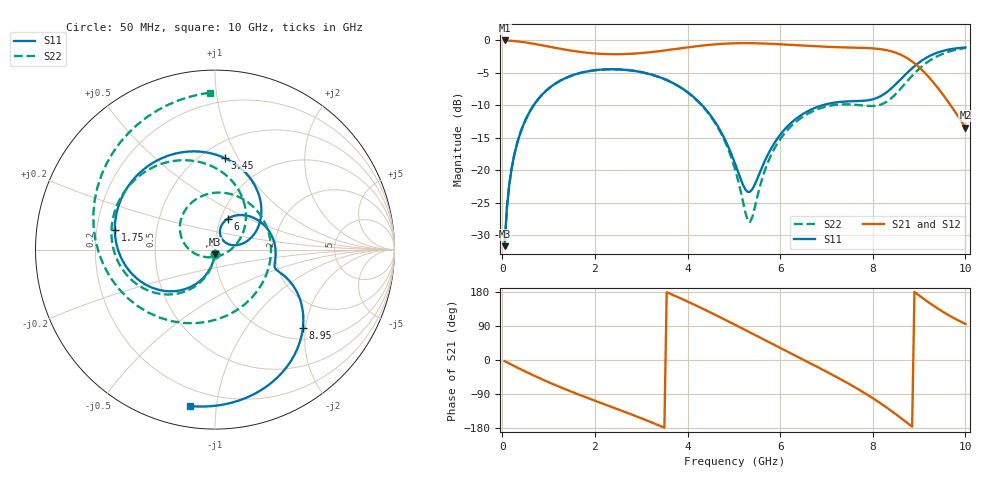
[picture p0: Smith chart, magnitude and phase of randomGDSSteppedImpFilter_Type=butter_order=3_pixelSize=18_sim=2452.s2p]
! freq	dB(S11)	phase(S11)	dB(S12)	phase(S12)
!  dB(S21)	phase(S21)	dB(S22)	phase(S22)
!S-par simulation data
#  GHz  S  DB  R 50
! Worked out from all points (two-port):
!   200 points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, 50 MHz to 10 GHz, reference 50 ohm
!   highest |S21| = -0.01 dB at 50 MHz (marker M1); lowest = -13.4 dB at 10 GHz (marker M2)
!   |S21| within 3 dB of the highest: start of sweep to 8.802 GHz
!   lowest |S11| = -31.7 dB at 50 MHz (marker M3), VSWR 1.05, Z = 49.8 - j2.59 ohm
!   |S11| at or under -10 dB: start of sweep to 677.4 MHz; 4.315 GHz to 6.909 GHz (2.594 GHz wide, 46.2 % of centre)
!   |S22| runs from -31.7 to -1.2 dB; largest |S21 - S12| = 0
!   S11 on the Smith chart (normalised r, x): 50 MHz: 1.00, -0.05; 1.75 GHz: 0.28, +0.09; 3.45 GHz: 0.64, +0.89; 6 GHz: 1.08, +0.39; 8.95 GHz: 1.27, -1.94; 10 GHz: 0.11, -0.85
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0.05  -31.70 -93.2  -0.01 -3.2  -0.01 -3.2  -31.69 -93.0
0.1  -25.71 -96.8  -0.02 -6.3  -0.02 -6.3  -25.71 -96.3
0.2  -19.80 -103.5  -0.07 -12.5  -0.07 -12.5  -19.80 -102.4
0.5  -12.28 -122.4  -0.31 -30.6  -0.31 -30.6  -12.27 -119.8
1.05  -7.14 -154.6  -1.02 -61.3  -1.02 -61.3  -7.13 -149.1
1.75  -4.90 168.9  -1.84 -95.8  -1.84 -95.8  -4.90 178.4
2.65  -4.53 124.9  -2.10 -137.2  -2.10 -137.2  -4.53 140.2
3.4  -5.68 86.3  -1.65 -173.5  -1.65 -173.5  -5.68 106.9
3.45  -5.81 83.7  -1.60 -176.1  -1.60 -176.1  -5.82 104.6
4.25  -9.52 39.3  -0.85 140.0  -0.85 140.0  -9.56 63.4
5.05  -19.44 13.1  -0.44 91.4  -0.44 91.4  -20.45 3.4
5.35  -23.31 50.0  -0.42 72.7  -0.42 72.7  -27.98 -84.0
6  -14.54 67.3  -0.60 32.0  -0.60 32.0  -15.22 169.1
6.7  -10.55 31.2  -0.89 -11.8  -0.89 -11.8  -10.92 121.9
7.15  -9.61 8.5  -1.03 -40.5  -1.03 -40.5  -9.97 89.0
7.65  -9.36 -10.7  -1.12 -74.5  -1.12 -74.5  -9.93 42.4
8.05  -8.96 -17.9  -1.26 -104.7  -1.26 -104.7  -10.08 -10.6
8.35  -7.70 -20.8  -1.59 -129.8  -1.59 -129.8  -9.19 -61.3
8.65  -5.65 -28.0  -2.36 -157.1  -2.36 -157.1  -7.05 -113.0
8.95  -3.68 -41.6  -3.81 174.9  -3.81 174.9  -4.72 -158.4
9.4  -1.87 -67.1  -7.28 136.0  -7.28 136.0  -2.42 146.7
10  -1.09 -98.9  -13.42 95.1  -13.42 95.1  -1.16 91.9
